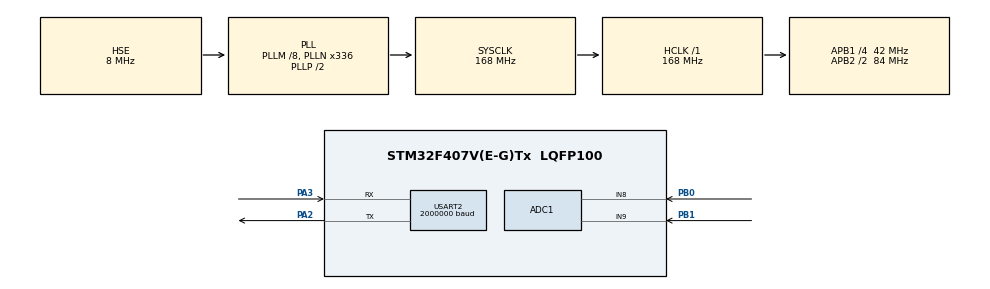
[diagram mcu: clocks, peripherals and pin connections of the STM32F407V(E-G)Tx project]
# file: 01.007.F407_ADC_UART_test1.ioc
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ADC1.Channel-3\#ChannelRegularConversion=ADC_CHANNEL_8
ADC1.Channel-4\#ChannelRegularConversion=ADC_CHANNEL_9
ADC1.NbrOfConversion=2
ADC1.NbrOfConversionFlag=1
ADC1.Rank-3\#ChannelRegularConversion=1
ADC1.Rank-4\#ChannelRegularConversion=2
ADC1.SamplingTime-3\#ChannelRegularConversion=ADC_SAMPLETIME_15CYCLES
ADC1.SamplingTime-4\#ChannelRegularConversion=ADC_SAMPLETIME_15CYCLES
ADC1.master=1
Dma.Request0=USART2_TX
Dma.Request1=USART2_RX
Dma.USART2_RX.1.Direction=DMA_PERIPH_TO_MEMORY
Dma.USART2_RX.1.FIFOMode=DMA_FIFOMODE_DISABLE
Dma.USART2_RX.1.Instance=DMA1_Stream5
Dma.USART2_RX.1.MemDataAlignment=DMA_MDATAALIGN_BYTE
Dma.USART2_RX.1.MemInc=DMA_MINC_ENABLE
Dma.USART2_RX.1.Mode=DMA_CIRCULAR
Dma.USART2_RX.1.PeriphDataAlignment=DMA_PDATAALIGN_BYTE
Dma.USART2_RX.1.PeriphInc=DMA_PINC_DISABLE
Dma.USART2_RX.1.Priority=DMA_PRIORITY_LOW
Dma.USART2_TX.0.Direction=DMA_MEMORY_TO_PERIPH
Dma.USART2_TX.0.FIFOMode=DMA_FIFOMODE_DISABLE
Dma.USART2_TX.0.Instance=DMA1_Stream6
Dma.USART2_TX.0.MemDataAlignment=DMA_MDATAALIGN_BYTE
Dma.USART2_TX.0.MemInc=DMA_MINC_ENABLE
Dma.USART2_TX.0.Mode=DMA_NORMAL
Dma.USART2_TX.0.PeriphDataAlignment=DMA_PDATAALIGN_BYTE
Dma.USART2_TX.0.PeriphInc=DMA_PINC_DISABLE
Dma.USART2_TX.0.Priority=DMA_PRIORITY_LOW
Mcu.Family=STM32F4
Mcu.Name=STM32F407V(E-G)Tx
Mcu.Package=LQFP100
NVIC.DMA1_Stream5_IRQn=true\:0\:0\:false\:false\:true\:false\:true\:true
NVIC.DMA1_Stream6_IRQn=true\:0\:0\:false\:false\:true\:false\:true\:true
NVIC.PriorityGroup=NVIC_PRIORITYGROUP_0
NVIC.USART2_IRQn=true\:0\:0\:false\:false\:true\:true\:true\:true
PA2.Mode=Asynchronous
PA2.Signal=USART2_TX
PA3.Mode=Asynchronous
PA3.Signal=USART2_RX
PB0.Signal=ADCx_IN8
PB1.Signal=ADCx_IN9
PH0-OSC_IN.Mode=HSE-External-Oscillator
PH0-OSC_IN.Signal=RCC_OSC_IN
PH1-OSC_OUT.Mode=HSE-External-Oscillator
PH1-OSC_OUT.Signal=RCC_OSC_OUT
ProjectManager.HeapSize=0x200
ProjectManager.StackSize=0x400
ProjectManager.TargetToolchain=STM32CubeIDE
RCC.48MHZClocksFreq_Value=48000000
RCC.AHBFreq_Value=168000000
RCC.APB1CLKDivider=RCC_HCLK_DIV4
RCC.APB1Freq_Value=42000000
RCC.APB1TimFreq_Value=84000000
RCC.APB2CLKDivider=RCC_HCLK_DIV2
RCC.APB2Freq_Value=84000000
RCC.APB2TimFreq_Value=168000000
RCC.CortexFreq_Value=168000000
RCC.HCLKFreq_Value=168000000
RCC.HSE_VALUE=8000000
RCC.HSI_VALUE=16000000
RCC.LSE_VALUE=32768
RCC.PLLM=8
RCC.PLLN=336
RCC.PLLQ=7
RCC.PLLSourceVirtual=RCC_PLLSOURCE_HSE
RCC.SYSCLKFreq_VALUE=168000000
RCC.SYSCLKSource=RCC_SYSCLKSOURCE_PLLCLK
RCC.VCOOutputFreq_Value=336000000
SH.ADCx_IN8.0=ADC1_IN8,IN8
SH.ADCx_IN9.0=ADC1_IN9,IN9
USART2.BaudRate=2000000
USART2.VirtualMode=VM_ASYNC
board=STM32F407G-DISC1

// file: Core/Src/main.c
/* USER CODE BEGIN Header */
/**
  ******************************************************************************
  * @file           : main.c
  * @brief          : Main program body
  ******************************************************************************
  * @attention
  *
  * Copyright (c) 2025 STMicroelectronics.
  * All rights reserved.
  *
  * This software is licensed under terms that can be found in the LICENSE file
  * in the root directory of this software component.
  * If no LICENSE file comes with this software, it is provided AS-IS.
  *
  ******************************************************************************
  */
/* USER CODE END Header */
#include "main.h"

/* USER CODE BEGIN Includes */

/*
 * Project is Polling ADC multichannel read(IN8,IN9)
 * ADC1 AN8(PB0) and AN9(PB1) activated and read separately. Rank:1 for IN8, and
 * Rank:2 for IN9 adjustments were important(Number of Conversion: 2 in Mx and
 * Scan Conversion Mode: Enabled) because it puts a channel read into queue and
 * reads after HAL_ADC_PollForConversion(&hadc1, 1000);
 *
 * */
#include <stdio.h>
#include <string.h>
#include <stddef.h>
#include <stdarg.h>
#include <stdbool.h>
#include <stdlib.h>
/* USER CODE END Includes */

ADC_HandleTypeDef hadc1;

UART_HandleTypeDef huart4;
DMA_HandleTypeDef hdma_usart2_tx;
DMA_HandleTypeDef hdma_usart2_rx;

/* USER CODE BEGIN PV */
uint8_t dma_rx_buffer[64];
uint16_t old_pos = 0;

/* USER CODE END PV */

void SystemClock_Config(void);
static void MX_GPIO_Init(void);
static void MX_DMA_Init(void);
static void MX_USART2_UART_Init(void);
static void MX_ADC1_Init(void);

/* USER CODE BEGIN 0 */
void DebugPrint(const char *format, ...)
{
    static char uartBuffer[250];  // <--- persists after function returns
    va_list args;
    va_start(args, format);
    vsnprintf(uartBuffer, sizeof(uartBuffer), format, args);
    va_end(args);

    HAL_UART_Transmit_DMA(&huart4, (uint8_t*)uartBuffer, strlen(uartBuffer));
}

void check_dma_data(void) {
    uint16_t pos = sizeof(dma_rx_buffer) - __HAL_DMA_GET_COUNTER(&hdma_usart2_rx);

    if (pos != old_pos) {
        if (pos > old_pos) {
            // Print new data
            for (uint16_t i = old_pos; i < pos; i++) {
                DebugPrint("\r\nGot: '%c' (0x%02X) at pos %d\r\n\r\n",
                       dma_rx_buffer[i], dma_rx_buffer[i], i);

            }
        }
        old_pos = pos;
    }
}

/**
 * @brief Convert ADC raw value to voltage
 * @param adc_raw: Raw ADC value (0-4095)
 * @retval float: Voltage (0.0-3.3V)
 */
float adc_to_voltage(uint16_t adc_raw)
{
    return ((float)adc_raw * 3.3f) / 4095.0f;
}

/* USER CODE END 0 */

int main(void)
{

  /* MCU Configuration--------------------------------------------------------*/

  /* Reset of all peripherals, Initializes the Flash interface and the Systick. */
  HAL_Init();

  /* Configure the system clock */
  SystemClock_Config();

  /* Initialize all configured peripherals */
  MX_GPIO_Init();
  MX_DMA_Init();
  MX_USART2_UART_Init();
  MX_ADC1_Init();
  /* USER CODE BEGIN 2 */
  HAL_UART_Receive_DMA(&huart4, dma_rx_buffer, sizeof(dma_rx_buffer));
  DebugPrint("DMA started! Type something...\r\n\r\n");

//  HAL_ADCEX_CALIBRATION_START(&HADC1,ADC_SINGLE_ENDED);	//The function is NOT available on STM32F4 series! This function only exists on newer STM32 families like F3, L4, G4, H7, etc.
  /* USER CODE END 2 */

  /* Infinite loop */
  while (1)
  {

    /* USER CODE BEGIN 3 */
	  HAL_Delay(1000);
	  HAL_ADC_Start(&hadc1);

	  HAL_ADC_PollForConversion(&hadc1, 1000);
	  uint16_t ch8 = HAL_ADC_GetValue(&hadc1);  // PB0

	  HAL_ADC_PollForConversion(&hadc1, 1000);
	  uint16_t ch9 = HAL_ADC_GetValue(&hadc1);  // PB1

	  HAL_ADC_Stop(&hadc1);

	  DebugPrint("CH8: %d | %.3f V, CH9: %d | %.3f V\r\n",ch8, adc_to_voltage(ch8), ch9, adc_to_voltage(ch9));

//	  check_dma_data();

  }
  /* USER CODE END 3 */
}

void SystemClock_Config(void)
{
  RCC_OscInitTypeDef RCC_OscInitStruct = {0};
  RCC_ClkInitTypeDef RCC_ClkInitStruct = {0};

  /** Configure the main internal regulator output voltage
  */
  __HAL_RCC_PWR_CLK_ENABLE();
  __HAL_PWR_VOLTAGESCALING_CONFIG(PWR_REGULATOR_VOLTAGE_SCALE1);

  /** Initializes the RCC Oscillators according to the specified parameters
  * in the RCC_OscInitTypeDef structure.
  */
  RCC_OscInitStruct.OscillatorType = RCC_OSCILLATORTYPE_HSE;
  RCC_OscInitStruct.HSEState = RCC_HSE_ON;
  RCC_OscInitStruct.PLL.PLLState = RCC_PLL_ON;
  RCC_OscInitStruct.PLL.PLLSource = RCC_PLLSOURCE_HSE;
  RCC_OscInitStruct.PLL.PLLM = 8;
  RCC_OscInitStruct.PLL.PLLN = 336;
  RCC_OscInitStruct.PLL.PLLP = RCC_PLLP_DIV2;
  RCC_OscInitStruct.PLL.PLLQ = 7;
  if (HAL_RCC_OscConfig(&RCC_OscInitStruct) != HAL_OK)
  {
    Error_Handler();
  }

  /** Initializes the CPU, AHB and APB buses clocks
  */
  RCC_ClkInitStruct.ClockType = RCC_CLOCKTYPE_HCLK|RCC_CLOCKTYPE_SYSCLK
                              |RCC_CLOCKTYPE_PCLK1|RCC_CLOCKTYPE_PCLK2;
  RCC_ClkInitStruct.SYSCLKSource = RCC_SYSCLKSOURCE_PLLCLK;
  RCC_ClkInitStruct.AHBCLKDivider = RCC_SYSCLK_DIV1;
  RCC_ClkInitStruct.APB1CLKDivider = RCC_HCLK_DIV4;
  RCC_ClkInitStruct.APB2CLKDivider = RCC_HCLK_DIV2;

  if (HAL_RCC_ClockConfig(&RCC_ClkInitStruct, FLASH_LATENCY_5) != HAL_OK)
  {
    Error_Handler();
  }
}

static void MX_ADC1_Init(void)
{

  ADC_ChannelConfTypeDef sConfig = {0};

  /** Configure the global features of the ADC (Clock, Resolution, Data Alignment and number of conversion)
  */
  hadc1.Instance = ADC1;
  hadc1.Init.ClockPrescaler = ADC_CLOCK_SYNC_PCLK_DIV4;
  hadc1.Init.Resolution = ADC_RESOLUTION_12B;
  hadc1.Init.ScanConvMode = ENABLE;
  hadc1.Init.ContinuousConvMode = DISABLE;
  hadc1.Init.DiscontinuousConvMode = DISABLE;
  hadc1.Init.ExternalTrigConvEdge = ADC_EXTERNALTRIGCONVEDGE_NONE;
  hadc1.Init.ExternalTrigConv = ADC_SOFTWARE_START;
  hadc1.Init.DataAlign = ADC_DATAALIGN_RIGHT;
  hadc1.Init.NbrOfConversion = 2;
  hadc1.Init.DMAContinuousRequests = DISABLE;
  hadc1.Init.EOCSelection = ADC_EOC_SINGLE_CONV;
  if (HAL_ADC_Init(&hadc1) != HAL_OK)
  {
    Error_Handler();
  }

  /** Configure for the selected ADC regular channel its corresponding rank in the sequencer and its sample time.
  */
  sConfig.Channel = ADC_CHANNEL_8;
  sConfig.Rank = 1;
  sConfig.SamplingTime = ADC_SAMPLETIME_15CYCLES;
  if (HAL_ADC_ConfigChannel(&hadc1, &sConfig) != HAL_OK)
  {
    Error_Handler();
  }

  /** Configure for the selected ADC regular channel its corresponding rank in the sequencer and its sample time.
  */
  sConfig.Channel = ADC_CHANNEL_9;
  sConfig.Rank = 2;
  if (HAL_ADC_ConfigChannel(&hadc1, &sConfig) != HAL_OK)
  {
    Error_Handler();
  }

}

static void MX_USART2_UART_Init(void)
{

  huart4.Instance = USART2;
  huart4.Init.BaudRate = 2000000;
  huart4.Init.WordLength = UART_WORDLENGTH_8B;
  huart4.Init.StopBits = UART_STOPBITS_1;
  huart4.Init.Parity = UART_PARITY_NONE;
  huart4.Init.Mode = UART_MODE_TX_RX;
  huart4.Init.HwFlowCtl = UART_HWCONTROL_NONE;
  huart4.Init.OverSampling = UART_OVERSAMPLING_16;
  if (HAL_UART_Init(&huart4) != HAL_OK)
  {
    Error_Handler();
  }

}

static void MX_DMA_Init(void)
{

  /* DMA controller clock enable */
  __HAL_RCC_DMA1_CLK_ENABLE();

  /* DMA interrupt init */
  /* DMA1_Stream5_IRQn interrupt configuration */
  HAL_NVIC_SetPriority(DMA1_Stream5_IRQn, 0, 0);
  HAL_NVIC_EnableIRQ(DMA1_Stream5_IRQn);
  /* DMA1_Stream6_IRQn interrupt configuration */
  HAL_NVIC_SetPriority(DMA1_Stream6_IRQn, 0, 0);
  HAL_NVIC_EnableIRQ(DMA1_Stream6_IRQn);

}

static void MX_GPIO_Init(void)
{

  /* GPIO Ports Clock Enable */
  __HAL_RCC_GPIOH_CLK_ENABLE();
  __HAL_RCC_GPIOA_CLK_ENABLE();
  __HAL_RCC_GPIOB_CLK_ENABLE();

}

void Error_Handler(void)
{
  __disable_irq();
  while (1)
  {
  }
}
